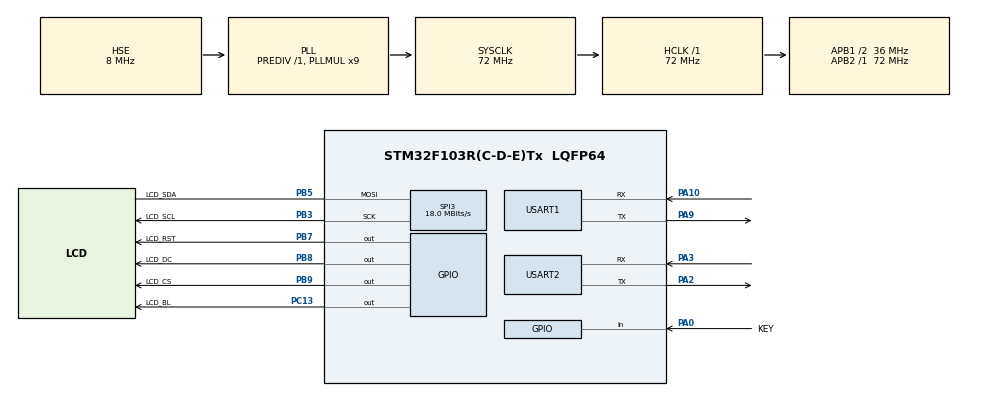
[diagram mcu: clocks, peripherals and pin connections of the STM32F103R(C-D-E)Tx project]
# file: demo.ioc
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Mcu.Family=STM32F1
Mcu.Name=STM32F103R(C-D-E)Tx
Mcu.Package=LQFP64
NVIC.PriorityGroup=NVIC_PRIORITYGROUP_4
NVIC.USART1_IRQn=true\:0\:0\:false\:false\:true\:true\:true\:true
PA0-WKUP.GPIO_Label=KEY
PA0-WKUP.GPIO_PuPd=GPIO_PULLDOWN
PA0-WKUP.Signal=GPIO_Input
PA10.Mode=Asynchronous
PA10.Signal=USART1_RX
PA13.Mode=Serial_Wire
PA13.Signal=SYS_JTMS-SWDIO
PA14.Mode=Serial_Wire
PA14.Signal=SYS_JTCK-SWCLK
PA2.Mode=Asynchronous
PA2.Signal=USART2_TX
PA3.Mode=Asynchronous
PA3.Signal=USART2_RX
PA9.Mode=Asynchronous
PA9.Signal=USART1_TX
PB3.GPIO_Label=LCD_SCL
PB3.Mode=Simplex_Bidirectional_Master
PB3.Signal=SPI3_SCK
PB5.GPIO_Label=LCD_SDA
PB5.Mode=Simplex_Bidirectional_Master
PB5.Signal=SPI3_MOSI
PB7.GPIO_Label=LCD_RST
PB7.Signal=GPIO_Output
PB8.GPIO_Label=LCD_DC
PB8.Signal=GPIO_Output
PB9.GPIO_Label=LCD_CS
PB9.Signal=GPIO_Output
PC13-TAMPER-RTC.GPIO_Label=LCD_BL
PC13-TAMPER-RTC.Signal=GPIO_Output
PD0-OSC_IN.Mode=HSE-External-Oscillator
PD0-OSC_IN.Signal=RCC_OSC_IN
PD1-OSC_OUT.Mode=HSE-External-Oscillator
PD1-OSC_OUT.Signal=RCC_OSC_OUT
ProjectManager.HeapSize=0x800
ProjectManager.StackSize=0x800
ProjectManager.TargetToolchain=MDK-ARM V5
RCC.AHBFreq_Value=72000000
RCC.APB1CLKDivider=RCC_HCLK_DIV2
RCC.APB1Freq_Value=36000000
RCC.APB1TimFreq_Value=72000000
RCC.APB2Freq_Value=72000000
RCC.APB2TimFreq_Value=72000000
RCC.HCLKFreq_Value=72000000
RCC.PLLMUL=RCC_PLL_MUL9
RCC.PLLSourceVirtual=RCC_PLLSOURCE_HSE
RCC.SYSCLKFreq_VALUE=72000000
RCC.SYSCLKSource=RCC_SYSCLKSOURCE_PLLCLK
RCC.USBFreq_Value=72000000
SPI3.CalculateBaudRate=18.0 MBits/s
SPI3.Direction=SPI_DIRECTION_1LINE
SPI3.Mode=SPI_MODE_MASTER
SPI3.VirtualType=VM_MASTER
USART1.VirtualMode=VM_ASYNC
USART2.VirtualMode=VM_ASYNC
board=custom

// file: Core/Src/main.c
/* USER CODE BEGIN Header */
/**
 ******************************************************************************
 * @file           : main.c
 * @brief          : Main program body
 ******************************************************************************
 * @attention
 *
 * <h2><center>&copy; Copyright (c) 2022 STMicroelectronics.
 * All rights reserved.</center></h2>
 *
 * This software component is licensed by ST under BSD 3-Clause license,
 * the "License"; You may not use this file except in compliance with the
 * License. You may obtain a copy of the License at:
 *                        opensource.org/licenses/BSD-3-Clause
 *
 ******************************************************************************
 */
/* USER CODE END Header */
#include "main.h"
#include "spi.h"
#include "usart.h"
#include "gpio.h"

/* USER CODE BEGIN Includes */
#include "st7735/st7735.h"
/* USER CODE END Includes */

void SystemClock_Config(void);

/* USER CODE BEGIN 0 */

struct DISPLAY_DRIVER {
    void (*draw_pixel)(int x, int y, uint32_t rgb);
    void (*fill_rect)(int x0, int y0, int x1, int y1, uint32_t rgb);
} driver;

extern void startHelloParticle(void* phy_fb, int width, int height, int color_bytes, struct DISPLAY_DRIVER* driver);

#define rgb_32to16(rgb) ((rgb & 0xFF) >> 3) | ((rgb & 0xFC00) >> 5) | ((rgb & 0xF80000) >> 8)

void gfx_draw_pixel(int x, int y, uint32_t rgb) { st7735_draw_pixel(x, y, rgb_32to16(rgb)); }
void gfx_fill_rect(int x0, int y0, int x1, int y1, uint32_t rgb)
{
   if (x1 <= x0 || y1 <= y0) return;
   st7735_fill_rect(x0, y0, x1 - x0 + 1, y1 - y0 + 1, rgb_32to16(rgb));
}

/* USER CODE END 0 */

int main(void)
{

    /* MCU Configuration--------------------------------------------------------*/

    /* Reset of all peripherals, Initializes the Flash interface and the Systick. */
    HAL_Init();

    /* Configure the system clock */
    SystemClock_Config();

    /* Initialize all configured peripherals */
    MX_GPIO_Init();
    MX_USART1_UART_Init();
    MX_USART2_UART_Init();
    MX_SPI3_Init();
    /* USER CODE BEGIN 2 */

    st7735_init();
    st7735_backlight_on();

    driver.draw_pixel = gfx_draw_pixel;
    driver.fill_rect  = gfx_fill_rect;
    startHelloParticle(NULL, ST7735_WIDTH, ST7735_HEIGHT, 2, &driver);

    /* USER CODE END 2 */

    /* Infinite loop */
    while (1) {

    }
}

void SystemClock_Config(void)
{
    RCC_OscInitTypeDef RCC_OscInitStruct = {0};
    RCC_ClkInitTypeDef RCC_ClkInitStruct = {0};

    /** Initializes the RCC Oscillators according to the specified parameters
     * in the RCC_OscInitTypeDef structure.
     */
    RCC_OscInitStruct.OscillatorType = RCC_OSCILLATORTYPE_HSE;
    RCC_OscInitStruct.HSEState       = RCC_HSE_ON;
    RCC_OscInitStruct.HSEPredivValue = RCC_HSE_PREDIV_DIV1;
    RCC_OscInitStruct.HSIState       = RCC_HSI_ON;
    RCC_OscInitStruct.PLL.PLLState   = RCC_PLL_ON;
    RCC_OscInitStruct.PLL.PLLSource  = RCC_PLLSOURCE_HSE;
    RCC_OscInitStruct.PLL.PLLMUL     = RCC_PLL_MUL9;
    if (HAL_RCC_OscConfig(&RCC_OscInitStruct) != HAL_OK) {
        Error_Handler();
    }

    /** Initializes the CPU, AHB and APB buses clocks
     */
    RCC_ClkInitStruct.ClockType      = RCC_CLOCKTYPE_HCLK | RCC_CLOCKTYPE_SYSCLK | RCC_CLOCKTYPE_PCLK1 | RCC_CLOCKTYPE_PCLK2;
    RCC_ClkInitStruct.SYSCLKSource   = RCC_SYSCLKSOURCE_PLLCLK;
    RCC_ClkInitStruct.AHBCLKDivider  = RCC_SYSCLK_DIV1;
    RCC_ClkInitStruct.APB1CLKDivider = RCC_HCLK_DIV2;
    RCC_ClkInitStruct.APB2CLKDivider = RCC_HCLK_DIV1;

    if (HAL_RCC_ClockConfig(&RCC_ClkInitStruct, FLASH_LATENCY_2) != HAL_OK) {
        Error_Handler();
    }
}

void Error_Handler(void)
{
}
